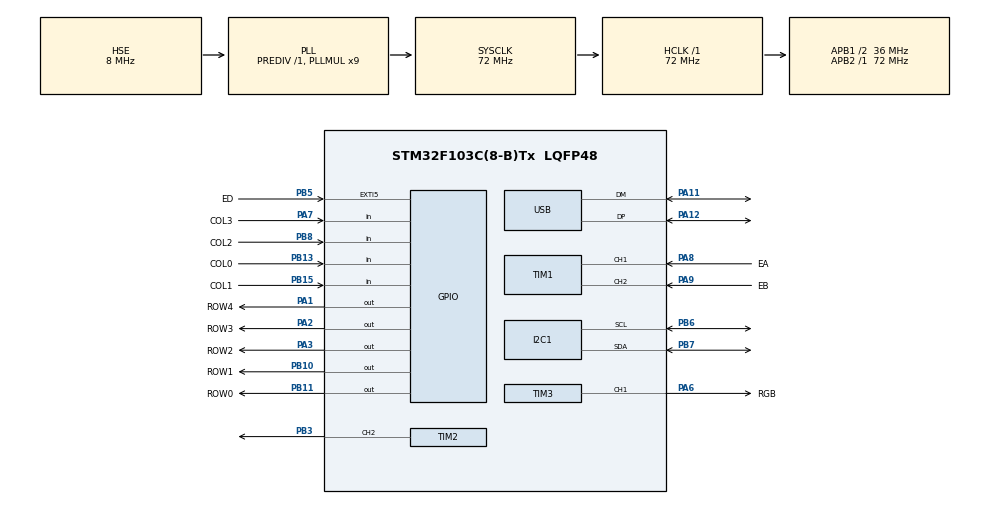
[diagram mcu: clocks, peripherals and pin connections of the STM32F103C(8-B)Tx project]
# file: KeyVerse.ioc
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Dma.Request0=TIM3_CH1/TRIG
Dma.TIM3_CH1/TRIG.0.Direction=DMA_MEMORY_TO_PERIPH
Dma.TIM3_CH1/TRIG.0.Instance=DMA1_Channel6
Dma.TIM3_CH1/TRIG.0.MemDataAlignment=DMA_MDATAALIGN_HALFWORD
Dma.TIM3_CH1/TRIG.0.MemInc=DMA_MINC_ENABLE
Dma.TIM3_CH1/TRIG.0.Mode=DMA_NORMAL
Dma.TIM3_CH1/TRIG.0.PeriphDataAlignment=DMA_PDATAALIGN_HALFWORD
Dma.TIM3_CH1/TRIG.0.PeriphInc=DMA_PINC_DISABLE
Dma.TIM3_CH1/TRIG.0.Priority=DMA_PRIORITY_LOW
I2C1.I2C_Mode=I2C_Standard
Mcu.Family=STM32F1
Mcu.Name=STM32F103C(8-B)Tx
Mcu.Package=LQFP48
NVIC.DMA1_Channel6_IRQn=true\:0\:0\:false\:false\:true\:false\:true\:true
NVIC.EXTI9_5_IRQn=true\:0\:0\:false\:false\:true\:true\:true\:true
NVIC.PriorityGroup=NVIC_PRIORITYGROUP_4
NVIC.TIM2_IRQn=true\:0\:0\:false\:false\:true\:true\:true\:true
NVIC.USB_LP_CAN1_RX0_IRQn=true\:0\:0\:false\:false\:true\:false\:true\:true
PA1.GPIO_Label=ROW4
PA1.PinState=GPIO_PIN_SET
PA1.Signal=GPIO_Output
PA11.Mode=Device
PA11.Signal=USB_DM
PA12.Mode=Device
PA12.Signal=USB_DP
PA13.Mode=Serial_Wire
PA13.Signal=SYS_JTMS-SWDIO
PA14.Mode=Serial_Wire
PA14.Signal=SYS_JTCK-SWCLK
PA2.GPIO_Label=ROW3
PA2.PinState=GPIO_PIN_SET
PA2.Signal=GPIO_Output
PA3.GPIO_Label=ROW2
PA3.PinState=GPIO_PIN_SET
PA3.Signal=GPIO_Output
PA6.GPIO_Label=RGB
PA6.GPIO_ModeDefaultPP=GPIO_MODE_AF_PP
PA6.GPIO_Speed=GPIO_SPEED_FREQ_HIGH
PA6.Signal=S_TIM3_CH1
PA7.GPIO_Label=COL3
PA7.GPIO_PuPd=GPIO_PULLUP
PA7.Signal=GPIO_Input
PA8.GPIO_Label=EA
PA8.Signal=S_TIM1_CH1
PA9.GPIO_Label=EB
PA9.Signal=S_TIM1_CH2
PB10.GPIO_Label=ROW1
PB10.PinState=GPIO_PIN_SET
PB10.Signal=GPIO_Output
PB11.GPIO_Label=ROW0
PB11.PinState=GPIO_PIN_SET
PB11.Signal=GPIO_Output
PB13.GPIO_Label=COL0
PB13.GPIO_PuPd=GPIO_PULLUP
PB13.Signal=GPIO_Input
PB15.GPIO_Label=COL1
PB15.GPIO_PuPd=GPIO_PULLUP
PB15.Signal=GPIO_Input
PB3.Signal=S_TIM2_CH2
PB5.GPIO_Label=ED
PB5.GPIO_ModeDefaultEXTI=GPIO_MODE_IT_FALLING
PB5.GPIO_PuPd=GPIO_PULLUP
PB5.Signal=GPXTI5
PB6.Mode=I2C
PB6.Signal=I2C1_SCL
PB7.Mode=I2C
PB7.Signal=I2C1_SDA
PB8.GPIO_Label=COL2
PB8.GPIO_PuPd=GPIO_PULLUP
PB8.Signal=GPIO_Input
PD0-OSC_IN.Mode=HSE-External-Oscillator
PD0-OSC_IN.Signal=RCC_OSC_IN
PD1-OSC_OUT.Mode=HSE-External-Oscillator
PD1-OSC_OUT.Signal=RCC_OSC_OUT
ProjectManager.HeapSize=0x200
ProjectManager.StackSize=0x400
ProjectManager.TargetToolchain=STM32CubeIDE
RCC.AHBFreq_Value=72000000
RCC.APB1CLKDivider=RCC_HCLK_DIV2
RCC.APB1Freq_Value=36000000
RCC.APB1TimFreq_Value=72000000
RCC.APB2Freq_Value=72000000
RCC.APB2TimFreq_Value=72000000
RCC.HCLKFreq_Value=72000000
RCC.PLLMUL=RCC_PLL_MUL9
RCC.SYSCLKFreq_VALUE=72000000
RCC.SYSCLKSource=RCC_SYSCLKSOURCE_PLLCLK
RCC.USBFreq_Value=48000000
RCC.USBPrescaler=RCC_USBCLKSOURCE_PLL_DIV1_5
SH.S_TIM1_CH1.0=TIM1_CH1,Encoder_Interface
SH.S_TIM1_CH2.0=TIM1_CH2,Encoder_Interface
SH.S_TIM2_CH2.0=TIM2_CH2,Output Compare2 CH2
SH.S_TIM3_CH1.0=TIM3_CH1,PWM Generation1 CH1
TIM2.Channel-Output\ Compare2\ CH2=TIM_CHANNEL_2
TIM2.Period=8399
TIM2.Prescaler=9999
TIM3.Channel-PWM\ Generation1\ CH1=TIM_CHANNEL_1
TIM3.Period=90-1
USB_DEVICE.CLASS_NAME_FS=HID
USB_DEVICE.MANUFACTURER_STRING=STMicroelectronics
USB_DEVICE.PRODUCT_STRING_HID_FS=KeyVerse
USB_DEVICE.VirtualMode=Hid
USB_DEVICE.VirtualModeFS=Hid_FS
VP_TIM3_VS_ClockSourceINT.Mode=Internal
VP_USB_DEVICE_VS_USB_DEVICE_HID_FS.Mode=HID_FS
board=custom

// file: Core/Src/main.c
/* USER CODE BEGIN Header */
/**
  ******************************************************************************
  * @file           : main.c
  * @brief          : Main program body
  ******************************************************************************
  * @attention
  *
  * Copyright (c) 2025 STMicroelectronics.
  * All rights reserved.
  *
  * This software is licensed under terms that can be found in the LICENSE file
  * in the root directory of this software component.
  * If no LICENSE file comes with this software, it is provided AS-IS.
  *
  ******************************************************************************
  */
/* USER CODE END Header */
#include "main.h"
#include "dma.h"
#include "i2c.h"
#include "tim.h"
#include "usb_device.h"
#include "gpio.h"

/* USER CODE BEGIN Includes */
#include "usbd_hid.h"
#include "keypad.h"
#include "string.h"
#include "oled.h"
#include <stdio.h>
#include "ws2812.h"
/* USER CODE END Includes */

/* USER CODE BEGIN PV */
//uint8_t Key_row[1]={0xff};
extern USBD_HandleTypeDef hUsbDeviceFS;

typedef struct {
	uint8_t MODIFIER;
	uint8_t RESERVED;
	uint8_t KEYCODE1;
	uint8_t KEYCODE2;
	uint8_t KEYCODE3;
	uint8_t KEYCODE4;
	uint8_t KEYCODE5;
	uint8_t KEYCODE6;
}keyboardReportDes;

// 确保有这样的定义
uint8_t status = 0;

/*version 1
uint32_t color;
*/

//keyboardReportDes HIDkeyBoard={0,0,0,0,0,0,0,0};

//
//uint8_t MatrixKey[20]={
//		0x59,0x5A,0x5B,0x00,
//		0x59,0x5A,0x5B,0x5C,
//		0x59,0x5A,0x5B,0x5C,
//		0x59,0x5A,0x5B,0x00,
//		0x59,0x5A,0x5B,0x00
//};
/* USER CODE END PV */

void SystemClock_Config(void);

int main(void)
{

  /* MCU Configuration--------------------------------------------------------*/

  /* Reset of all peripherals, Initializes the Flash interface and the Systick. */
  HAL_Init();

  /* Configure the system clock */
  SystemClock_Config();

  /* Initialize all configured peripherals */
  MX_GPIO_Init();
  MX_DMA_Init();
  MX_I2C1_Init();
  MX_TIM3_Init();
  MX_USB_DEVICE_Init();
  MX_TIM1_Init();
  MX_TIM2_Init();
  /* USER CODE BEGIN 2 */

  	  /*Init module*/
  	  OLED_Init();
  /*ws2812 module*/
  uint16_t encoder_value; // 您的编码器值
  uint8_t r, g, b;
  HAL_TIM_Encoder_Start(&htim1, TIM_CHANNEL_ALL);

    OLED_NewFrame();
    OLED_DrawImage((128 - (OLED_KeyVerseImg.w)) / 2, 0, &OLED_KeyVerseImg, OLED_COLOR_NORMAL);
    OLED_ShowFrame();

	  encoder_value = __HAL_TIM_GET_COUNTER(&htim1);
	  getColorFromEncoder(encoder_value, &r, &g, &b);
	  WS2812_SetAll(r, g, b);
	  WS2812_Update();
	  HAL_Delay(100);

  /* USER CODE END 2 */

  /* Infinite loop */
  while (1)
  {

    /* USER CODE BEGIN 3 */
	  if (status == 0)
	  {
		  /*status0 module*/
		  	  /* scan keypad module*/
		  	  ScanKeypad();
	  }
	  else if (status == 1)
	  {
		  /*status1 module*/
		  /*status1 ws2812 module*/
		  encoder_value = __HAL_TIM_GET_COUNTER(&htim1);
		  getColorFromEncoder(encoder_value, &r, &g, &b);
		  WS2812_SetAll(r, g, b);
		  WS2812_Update();
		  HAL_Delay(100);
		  /*status2 OLED module*/
		  OLED_NewFrame();
//	  	  OLED_ShowNum(0, 0, 1, &font16x16, OLED_COLOR_NORMAL); // 中文、英文、符号混合显示
		  OLED_DrawImage((128 - (logoImg.w)) / 2, 0, &logoImg, OLED_COLOR_NORMAL);
		  OLED_ShowFrame();
	  }
	  else if (status == 2)
	  {
		  OLED_NewFrame();
//		  OLED_ShowNum(0, 0, 2, &font16x16, OLED_COLOR_NORMAL); // 中文、英文、符号混合显示
		  OLED_DrawImage((128 - (OLED_KeyVerseImg.w)) / 2, 0, &OLED_KeyVerseImg, OLED_COLOR_NORMAL);
		  OLED_ShowFrame();

		  status = 0;
	  }
  }
  /* USER CODE END 3 */
}

void SystemClock_Config(void)
{
  RCC_OscInitTypeDef RCC_OscInitStruct = {0};
  RCC_ClkInitTypeDef RCC_ClkInitStruct = {0};
  RCC_PeriphCLKInitTypeDef PeriphClkInit = {0};

  /** Initializes the RCC Oscillators according to the specified parameters
  * in the RCC_OscInitTypeDef structure.
  */
  RCC_OscInitStruct.OscillatorType = RCC_OSCILLATORTYPE_HSE;
  RCC_OscInitStruct.HSEState = RCC_HSE_ON;
  RCC_OscInitStruct.HSEPredivValue = RCC_HSE_PREDIV_DIV1;
  RCC_OscInitStruct.HSIState = RCC_HSI_ON;
  RCC_OscInitStruct.PLL.PLLState = RCC_PLL_ON;
  RCC_OscInitStruct.PLL.PLLSource = RCC_PLLSOURCE_HSE;
  RCC_OscInitStruct.PLL.PLLMUL = RCC_PLL_MUL9;
  if (HAL_RCC_OscConfig(&RCC_OscInitStruct) != HAL_OK)
  {
    Error_Handler();
  }

  /** Initializes the CPU, AHB and APB buses clocks
  */
  RCC_ClkInitStruct.ClockType = RCC_CLOCKTYPE_HCLK|RCC_CLOCKTYPE_SYSCLK
                              |RCC_CLOCKTYPE_PCLK1|RCC_CLOCKTYPE_PCLK2;
  RCC_ClkInitStruct.SYSCLKSource = RCC_SYSCLKSOURCE_PLLCLK;
  RCC_ClkInitStruct.AHBCLKDivider = RCC_SYSCLK_DIV1;
  RCC_ClkInitStruct.APB1CLKDivider = RCC_HCLK_DIV2;
  RCC_ClkInitStruct.APB2CLKDivider = RCC_HCLK_DIV1;

  if (HAL_RCC_ClockConfig(&RCC_ClkInitStruct, FLASH_LATENCY_2) != HAL_OK)
  {
    Error_Handler();
  }
  PeriphClkInit.PeriphClockSelection = RCC_PERIPHCLK_USB;
  PeriphClkInit.UsbClockSelection = RCC_USBCLKSOURCE_PLL_DIV1_5;
  if (HAL_RCCEx_PeriphCLKConfig(&PeriphClkInit) != HAL_OK)
  {
    Error_Handler();
  }
}

void Error_Handler(void)
{
  __disable_irq();
  while (1)
  {
  }
}
